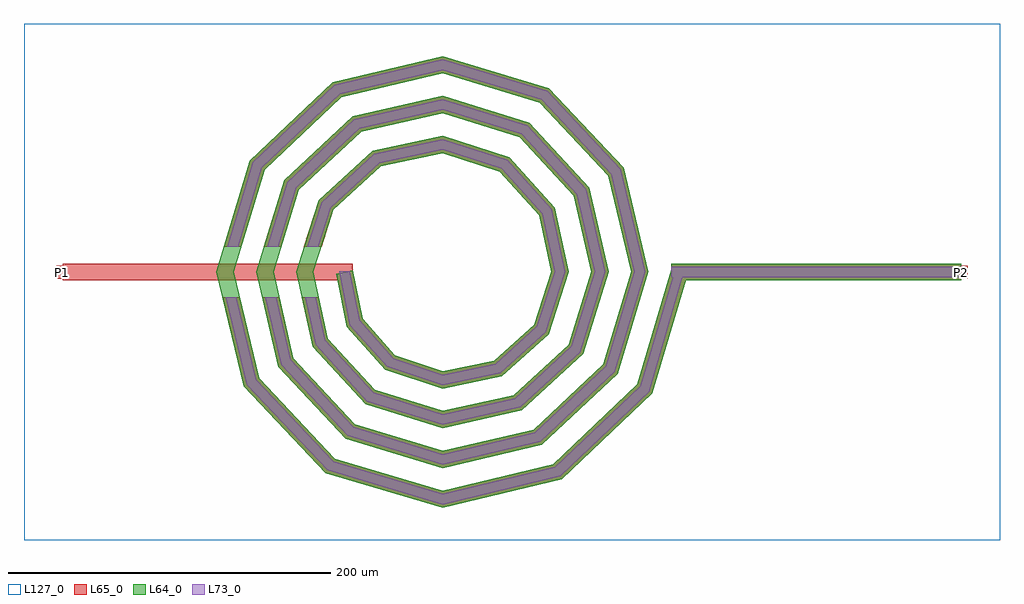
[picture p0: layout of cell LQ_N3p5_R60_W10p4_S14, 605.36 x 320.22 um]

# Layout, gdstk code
import gdstk
lib = gdstk.Library(unit=1e-6, precision=1e-09)
def R(c, l, rs):  # rectangles x0, y0, x1, y1
    for r in rs: c.add(gdstk.rectangle(r[:2], r[2:], *l))
def P(c, l, *ps):  # polygons
    for p in ps: c.add(gdstk.Polygon(p, *l))
L64_0 = (64, 0)
L65_0 = (65, 0)
L73_0 = (73, 0)
L127_0 = (127, 0)

lq_n3p5_r60_w10p4_s14 = lib.new_cell('LQ_N3p5_R60_W10p4_S14')
R(lq_n3p5_r60_w10p4_s14, L64_0, [(141.87,-5.2,321.87,5.2)])
P(lq_n3p5_r60_w10p4_s14, L64_0, [(-49.52,-28.97),(-29.438,-51.625),(0.309,-61.483),(32.029,-54.877),(56.953,-32.546),(67.652,0.283),(60.232,35.092),(35.651,62.284),(0.261,73.821),(-38.159,65.585),(-67.617,38.752),(-79.991,0.242),(-70.937,-41.228),(-41.852,-72.951),(0.226,-86.16),(44.299,-76.287),(78.287,-44.95),(92.33,0.211),(81.637,47.372),(48.046,83.623),(0.199,98.499),(-50.447,86.986),(-88.96,51.141),(-104.669,0.188),(-92.335,-53.522),(-54.234,-94.299),(0.178,-110.839),(56.599,-97.683),(99.637,-57.327),(117.008,0.169),(103.03,59.676),(60.419,104.976),(0.161,123.178),(-62.754,108.378),(-110.316,63.511),(-129.348,0.153),(-113.724,-65.833),(-66.602,-115.655),(0.147,-135.518),(68.912,-119.071),(120.996,-69.692),(142.084,1.477),(152.056,-1.477),(130.175,-75.321),(74.044,-128.537),(0.147,-146.282),(-72.241,-124.828),(-123.197,-70.953),(-140.111,0.153),(-119.481,69.162),(-67.862,117.857),(0.161,133.941),(66.084,114.134),(112.517,64.77),(127.771,0.169),(108.786,-63.006),(61.677,-107.178),(0.178,-121.601),(-59.928,-103.437),(-101.839,-58.584),(-115.43,0.188),(-98.089,56.852),(-55.489,96.5),(0.199,109.26),(53.777,92.739),(91.163,52.394),(103.089,0.211),(87.389,-50.703),(49.297,-85.826),(0.226,-96.919),(-47.631,-82.037),(-80.49,-46.198),(-90.748,0.242),(-76.685,44.56),(-43.097,75.154),(0.261,84.577),(41.492,71.331),(69.821,39.994),(78.406,0.283),(65.975,-38.426),(36.887,-64.489),(0.309,-72.235),(-35.365,-60.617),(-59.159,-33.776),(-65.786,-1.032),(-55.592,1.032)])
R(lq_n3p5_r60_w10p4_s14, L65_0, [(-235.489,-5.2,-55.489,5.2), (141.87,-5.2,321.87,5.2), (-239.489,-4,-231.489,4), (317.87,-4,325.87,4)])
P(lq_n3p5_r60_w10p4_s14, L65_0, [(-113.724,-65.833),(-66.602,-115.655),(0.147,-135.518),(68.913,-119.071),(120.996,-69.692),(142.084,1.477),(152.056,-1.477),(130.175,-75.321),(74.044,-128.537),(0.147,-146.282),(-72.241,-124.828),(-123.197,-70.953),(-136.364,-15.6),(-125.674,-15.6)],
  [(-92.335,-53.522),(-54.234,-94.299),(0.178,-110.839),(56.599,-97.683),(99.637,-57.327),(117.009,0.169),(103.03,59.676),(60.42,104.976),(0.161,123.178),(-62.754,108.378),(-110.316,63.511),(-124.639,15.6),(-135.494,15.6),(-119.481,69.162),(-67.862,117.857),(0.161,133.941),(66.084,114.134),(112.517,64.77),(127.771,0.169),(108.786,-63.006),(61.677,-107.178),(0.178,-121.601),(-59.929,-103.438),(-101.839,-58.584),(-111.779,-15.6),(-101.105,-15.6)],
  [(-70.937,-41.228),(-41.852,-72.951),(0.226,-86.16),(44.299,-76.287),(78.287,-44.95),(92.33,0.211),(81.637,47.372),(48.046,83.623),(0.199,98.499),(-50.447,86.986),(-88.961,51.141),(-99.837,15.6),(-110.713,15.6),(-98.089,56.852),(-55.49,96.5),(0.199,109.26),(53.777,92.739),(91.163,52.394),(103.089,0.211),(87.389,-50.703),(49.297,-85.826),(0.226,-96.919),(-47.631,-82.037),(-80.49,-46.198),(-87.249,-15.6),(-76.598,-15.6)],
  [(-29.438,-51.625),(0.309,-61.483),(32.029,-54.877),(56.953,-32.546),(67.652,0.283),(60.232,35.092),(35.651,62.284),(0.261,73.821),(-38.159,65.585),(-67.617,38.752),(-74.964,15.6),(-85.875,15.6),(-76.685,44.56),(-43.097,75.155),(0.261,84.577),(41.492,71.331),(69.821,39.994),(78.406,0.283),(65.975,-38.427),(36.887,-64.489),(0.309,-72.235),(-35.365,-60.617),(-59.159,-33.776),(-65.786,-1.032),(-55.592,1.032),(-49.52,-28.97)])
R(lq_n3p5_r60_w10p4_s14, L73_0, [(141.87,-3.2,321.87,3.2)])
P(lq_n3p5_r60_w10p4_s14, L73_0, [(-115.546,-66.818),(-67.686,-117.419),(0.09,-137.588),(69.899,-120.891),(122.761,-70.775),(144.002,0.909),(150.138,0.909),(128.41,-74.238),(73.057,-126.717),(0.09,-144.212),(-71.157,-123.064),(-121.375,-69.969),(-134.308,-15.6),(-127.73,-15.6)],
  [(-94.163,-54.496),(-55.329,-96.056),(0.109,-112.908),(57.576,-99.509),(101.396,-58.419),(119.078,0.104),(104.855,60.656),(61.509,106.737),(0.099,125.248),(-63.737,110.201),(-112.078,64.598),(-126.726,15.6),(-133.406,15.6),(-117.718,68.075),(-66.88,116.034),(0.099,131.871),(64.994,112.373),(110.693,63.791),(125.701,0.104),(107.026,-61.914),(60.701,-105.352),(0.109,-119.531),(-58.834,-101.68),(-100.011,-57.611),(-109.726,-15.6),(-103.158,-15.6)],
  [(-72.774,-42.184),(-42.963,-74.699),(0.139,-88.229),(45.26,-78.122),(80.037,-46.056),(94.399,0.13),(83.469,48.338),(49.148,85.376),(0.122,100.569),(-51.417,88.816),(-90.716,52.239),(-101.929,15.6),(-108.622,15.6),(-96.333,55.754),(-54.52,94.671),(0.122,107.19),(52.675,90.986),(89.331,51.428),(101.02,0.13),(85.638,-49.597),(48.336,-83.991),(0.139,-94.85),(-46.519,-80.29),(-78.653,-45.242),(-85.2,-15.6),(-78.646,-15.6)],
  [(-30.578,-53.354),(0.19,-63.551),(32.963,-56.726),(58.688,-33.677),(69.72,0.174),(62.076,36.035),(36.774,64.024),(0.16,75.89),(-39.109,67.425),(-69.361,39.869),(-77.062,15.6),(-83.776,15.6),(-74.941,43.443),(-42.147,73.314),(0.16,82.509),(40.369,69.591),(67.977,39.051),(76.338,0.174),(64.24,-37.296),(35.953,-62.64),(0.19,-70.167),(-34.225,-58.887),(-57.305,-32.851),(-63.826,0.635),(-57.553,0.635),(-51.374,-29.894)])
R(lq_n3p5_r60_w10p4_s14, L127_0, [(-259.489,-166.282,345.87,153.941)])
lq_n3p5_r60_w10p4_s14.add(gdstk.Label('P2', (321.87,0), layer=65, texttype=0))
lq_n3p5_r60_w10p4_s14.add(gdstk.Label('P1', (-235.489,0), layer=65, texttype=0))
lq_n3p5_r60_w10p4_s14.add(gdstk.Label('P2', (325.87,0), layer=145, texttype=0))
lq_n3p5_r60_w10p4_s14.add(gdstk.Label('P1', (-239.489,0), layer=145, texttype=0))

lib.write_gds('LQ_N3p5_R60_W10p4_S14.gds')
